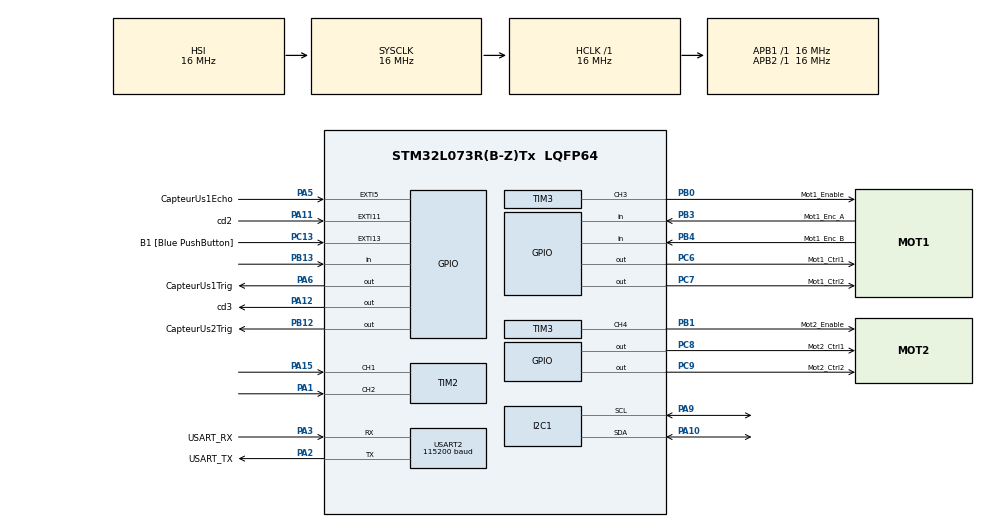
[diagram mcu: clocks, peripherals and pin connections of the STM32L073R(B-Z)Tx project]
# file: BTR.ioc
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I2C1.Timing=0x00503D58
Mcu.Family=STM32L0
Mcu.Name=STM32L073R(B-Z)Tx
Mcu.Package=LQFP64
NVIC.EXTI4_15_IRQn=true\:0\:0\:false\:false\:true\:true\:true\:true
NVIC.I2C1_IRQn=true\:0\:0\:false\:false\:true\:true\:true\:true
NVIC.TIM7_IRQn=true\:0\:0\:false\:false\:true\:true\:true\:true
NVIC.USART2_IRQn=true\:0\:0\:false\:false\:true\:true\:true\:true
PA1.Signal=S_TIM2_CH2
PA10.Mode=I2C
PA10.Signal=I2C1_SDA
PA11.GPIO_Label=cd2
PA11.GPIO_ModeDefaultEXTI=GPIO_MODE_IT_RISING_FALLING
PA11.Signal=GPXTI11
PA12.GPIO_Label=cd3
PA12.Signal=GPIO_Output
PA13.GPIO_Label=TMS
PA13.Mode=Serial_Wire
PA13.Signal=SYS_SWDIO
PA14.GPIO_Label=TCK
PA14.Mode=Serial_Wire
PA14.Signal=SYS_SWCLK
PA15.Signal=S_TIM2_CH1
PA2.GPIO_Label=USART_TX
PA2.Mode=Asynchronous
PA2.Signal=USART2_TX
PA3.GPIO_Label=USART_RX
PA3.Mode=Asynchronous
PA3.Signal=USART2_RX
PA5.GPIO_Label=CapteurUs1Echo
PA5.GPIO_ModeDefaultEXTI=GPIO_MODE_IT_RISING_FALLING
PA5.Signal=GPXTI5
PA6.GPIO_Label=CapteurUs1Trig
PA6.Signal=GPIO_Output
PA9.Mode=I2C
PA9.Signal=I2C1_SCL
PB0.GPIO_Label=Mot1_Enable
PB0.Signal=S_TIM3_CH3
PB1.GPIO_Label=Mot2_Enable
PB1.Signal=S_TIM3_CH4
PB12.GPIO_Label=CapteurUs2Trig
PB12.Signal=GPIO_Output
PB13.Signal=GPIO_Input
PB3.GPIO_Label=Mot1_Enc_A
PB3.Signal=GPIO_Input
PB4.GPIO_Label=Mot1_Enc_B
PB4.Signal=GPIO_Input
PC13.GPIO_Label=B1 [Blue PushButton]
PC13.GPIO_ModeDefaultEXTI=GPIO_MODE_IT_FALLING
PC13.Signal=GPXTI13
PC14-OSC32_IN.Mode=LSE-External-Oscillator
PC14-OSC32_IN.Signal=RCC_OSC32_IN
PC15-OSC32_OUT.Mode=LSE-External-Oscillator
PC15-OSC32_OUT.Signal=RCC_OSC32_OUT
PC6.GPIO_Label=Mot1_Ctrl1
PC6.Signal=GPIO_Output
PC7.GPIO_Label=Mot1_Ctrl2
PC7.Signal=GPIO_Output
PC8.GPIO_Label=Mot2_Ctrl1
PC8.Signal=GPIO_Output
PC9.GPIO_Label=Mot2_Ctrl2
PC9.Signal=GPIO_Output
PH0-OSC_IN.GPIO_Label=MCO
PH0-OSC_IN.Mode=HSE-External-Clock-Source
PH0-OSC_IN.Signal=RCC_OSC_IN
ProjectManager.HeapSize=0x200
ProjectManager.StackSize=0x400
ProjectManager.TargetToolchain=STM32CubeIDE
RCC.AHBFreq_Value=16000000
RCC.APB1Freq_Value=16000000
RCC.APB1TimFreq_Value=16000000
RCC.APB2Freq_Value=16000000
RCC.APB2TimFreq_Value=16000000
RCC.HCLKFreq_Value=16000000
RCC.HSE_VALUE=8000000
RCC.HSI16_VALUE=16000000
RCC.HSI48_VALUE=48000000
RCC.HSI_VALUE=16000000
RCC.MSI_VALUE=2097000
RCC.SYSCLKFreq_VALUE=16000000
RCC.SYSCLKSource=RCC_SYSCLKSOURCE_HSI
RCC.VCOOutputFreq_Value=48000000
SH.S_TIM2_CH1.0=TIM2_CH1,Encoder_Interface
SH.S_TIM2_CH2.0=TIM2_CH2,Encoder_Interface
SH.S_TIM3_CH3.0=TIM3_CH3,PWM Generation3 CH3
SH.S_TIM3_CH4.0=TIM3_CH4,PWM Generation4 CH4
TIM3.Channel-PWM\ Generation3\ CH3=TIM_CHANNEL_3
TIM3.Channel-PWM\ Generation4\ CH4=TIM_CHANNEL_4
TIM3.Period=150
TIM3.Prescaler=0
TIM6.Period=941
TIM6.Prescaler=0
TIM7.Period=250
TIM7.Prescaler=16000
USART2.BaudRate=115200
USART2.VirtualMode-Asynchronous=VM_ASYNC
VP_TIM3_VS_ClockSourceINT.Mode=Internal
VP_TIM6_VS_ClockSourceINT.Mode=Enable_Timer
VP_TIM7_VS_ClockSourceINT.Mode=Enable_Timer
board=NUCLEO-L073RZ

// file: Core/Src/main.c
/* USER CODE BEGIN Header */
/**
  ******************************************************************************
  * @file           : main.c
  * @brief          : Main program body
  ******************************************************************************
  * @attention
  *
  * Copyright (c) 2024 STMicroelectronics.
  * All rights reserved.
  *
  * This software is licensed under terms that can be found in the LICENSE file
  * in the root directory of this software component.
  * If no LICENSE file comes with this software, it is provided AS-IS.
  *
  ******************************************************************************
  */
/* USER CODE END Header */
#include "main.h"
#include "i2c.h"
#include "tim.h"
#include "usart.h"
#include "gpio.h"

/* USER CODE BEGIN Includes */
#include <stdio.h>

/* USER CODE END Includes */

/* USER CODE BEGIN PD */

//CONDITIONNELS
//#define TESTMOTORS
//#define TESTUS
#define MMA8451Q

#define MAX_SPEED 1

/* USER CODE END PD */

/* USER CODE BEGIN PV */

//Capteurs US

//Distance capteur US1
uint8_t g_int_distCapteurUs1=0;
uint8_t g_int_distRetenueUs1=0;

int32_t g_int_mot1PositionActuelle;
int32_t g_int_mot1PositionPrecedente;

uint8_t g_int_rpm;

char rx_buffer[10];  // Tampon pour stocker les caractères reçus
uint8_t rx_index = 0;

uint8_t g_int_LSpeed=0;
uint8_t g_int_RSpeed=0;

int l_bool_commande = 0;

/* USER CODE END PV */

void SystemClock_Config(void);

int main(void)
{

  /* MCU Configuration--------------------------------------------------------*/

  /* Reset of all peripherals, Initializes the Flash interface and the Systick. */
  HAL_Init();

  /* Configure the system clock */
  SystemClock_Config();

  /* Initialize all configured peripherals */
  MX_GPIO_Init();
  MX_USART2_UART_Init();
  MX_TIM2_Init();
  MX_TIM3_Init();
  MX_TIM6_Init();
  MX_TIM7_Init();
  MX_I2C1_Init();
  /* USER CODE BEGIN 2 */

  HAL_TIM_PWM_Start(&htim3, TIM_CHANNEL_3);
  HAL_TIM_PWM_Start(&htim3, TIM_CHANNEL_4);
  HAL_TIM_Base_Start_IT(&htim7);
  HAL_TIM_Encoder_Start(&htim2, TIM_CHANNEL_ALL);

  Motors_SetDirection(NEUTRAL);
  /* USER CODE END 2 */

  /* Infinite loop */
  /* USER CODE BEGIN WHILE */

  while (1)
  {
#ifdef TESTMOTORS

	  HAL_UART_Receive_IT(&huart2, (uint8_t *)rx_buffer, 1);

	  if(l_bool_commande == 1){
		  l_bool_commande = 0;

		  Motors_SetDirection(BACKWARD);

		  //Si le régime demndé est trop faible, le moteur démarre avant a haute vitesse
		  if(g_int_LSpeed>40 && g_int_LSpeed<150 && g_int_rpm==0){
			  Motors_SetSpeed(L_MOTOR, 220);
			  HAL_Delay(500);
		  }
		  else{
			  HAL_Delay(500);
		  }

		  //Actualise la vitesse du moteur
		  Motors_SetSpeed(L_MOTOR, g_int_LSpeed);

		  //Attente moteur
		  HAL_Delay(1500);
		  Print_Speed();
		  Motors_Stop();
		  //HAL_Delay(1000);

	  }

#endif

#ifdef TESTUS
	  TrigCapteurUs1();

	  HAL_Delay(500);

	  //filtrage
	  if((g_int_distCapteurUs1 <= 220) && (g_int_distCapteurUs1 >= 2)){
		  g_int_distRetenueUs1 = g_int_distCapteurUs1;
	  }

	  //uint8_t buffer[15];
	  //snprintf((char *)buffer, sizeof(buffer), "%d", g_int_distCapteurUs1);

	  //uint8_t buffer[15] = g_int_distCapteurUs1;

	  HAL_UART_Transmit(&huart2, &g_int_distRetenueUs1, 1, HAL_MAX_DELAY);
	  //printf("\n Erreur de lecture %i \n", g_int_distCapteurUs1);

	  //printf("marche stp \n");

	  //HAL_Delay(1000);
#endif
    /* USER CODE END WHILE */

  }
}

void SystemClock_Config(void)
{
  RCC_OscInitTypeDef RCC_OscInitStruct = {0};
  RCC_ClkInitTypeDef RCC_ClkInitStruct = {0};
  RCC_PeriphCLKInitTypeDef PeriphClkInit = {0};

  /** Configure the main internal regulator output voltage
  */
  __HAL_PWR_VOLTAGESCALING_CONFIG(PWR_REGULATOR_VOLTAGE_SCALE1);

  /** Initializes the RCC Oscillators according to the specified parameters
  * in the RCC_OscInitTypeDef structure.
  */
  RCC_OscInitStruct.OscillatorType = RCC_OSCILLATORTYPE_HSI;
  RCC_OscInitStruct.HSIState = RCC_HSI_ON;
  RCC_OscInitStruct.HSICalibrationValue = RCC_HSICALIBRATION_DEFAULT;
  RCC_OscInitStruct.PLL.PLLState = RCC_PLL_NONE;
  if (HAL_RCC_OscConfig(&RCC_OscInitStruct) != HAL_OK)
  {
    Error_Handler();
  }

  /** Initializes the CPU, AHB and APB buses clocks
  */
  RCC_ClkInitStruct.ClockType = RCC_CLOCKTYPE_HCLK|RCC_CLOCKTYPE_SYSCLK
                              |RCC_CLOCKTYPE_PCLK1|RCC_CLOCKTYPE_PCLK2;
  RCC_ClkInitStruct.SYSCLKSource = RCC_SYSCLKSOURCE_HSI;
  RCC_ClkInitStruct.AHBCLKDivider = RCC_SYSCLK_DIV1;
  RCC_ClkInitStruct.APB1CLKDivider = RCC_HCLK_DIV1;
  RCC_ClkInitStruct.APB2CLKDivider = RCC_HCLK_DIV1;

  if (HAL_RCC_ClockConfig(&RCC_ClkInitStruct, FLASH_LATENCY_0) != HAL_OK)
  {
    Error_Handler();
  }
  PeriphClkInit.PeriphClockSelection = RCC_PERIPHCLK_USART2|RCC_PERIPHCLK_I2C1;
  PeriphClkInit.Usart2ClockSelection = RCC_USART2CLKSOURCE_PCLK1;
  PeriphClkInit.I2c1ClockSelection = RCC_I2C1CLKSOURCE_PCLK1;
  if (HAL_RCCEx_PeriphCLKConfig(&PeriphClkInit) != HAL_OK)
  {
    Error_Handler();
  }
}

/* USER CODE BEGIN 4 */
//FONCTIONS

int __io_putchar(int ch){
	HAL_UART_Transmit(&huart2, (uint8_t*)&ch, 1, 0xFFFF);
	return ch;
}

//a refaire completement bancal
void TrigCapteurUs1(void){
	//Sortie ETat Haut
	HAL_GPIO_WritePin(CapteurUs1Trig_GPIO_Port, CapteurUs1Trig_Pin, GPIO_PIN_SET);
	//10us
	HAL_Delay(0.01);
	//Sortie Etat Bas
	HAL_GPIO_WritePin(CapteurUs1Trig_GPIO_Port, CapteurUs1Trig_Pin, GPIO_PIN_RESET);
}

//Callback lors d'interruptions sur EXTI 4:15
void HAL_GPIO_EXTI_Callback(uint16_t GPIO_Pin) {
    // Vérifie quel pin a déclenché l'interruption
    if (GPIO_Pin == CapteurUs1Echo_Pin) {

    	//Verif rising
        if (HAL_GPIO_ReadPin(CapteurUs1Echo_GPIO_Port, CapteurUs1Echo_Pin) == GPIO_PIN_SET){
        	//Lancer le timer
        	HAL_TIM_Base_Start(&htim6);
        }

        //Verif falling
        else if (HAL_GPIO_ReadPin(CapteurUs1Echo_GPIO_Port, CapteurUs1Echo_Pin) == GPIO_PIN_RESET){
        	//Arrete le timer et transmets la valeur
        	//ici la valeur est directement en cm grace au prescaler de tim2 qui est a 941
        	HAL_TIM_Base_Stop(&htim6);
        	g_int_distCapteurUs1 = TIM6->CNT;
        	TIM6->CNT = 0;

        }
    }
}

void HAL_UART_RxCpltCallback(UART_HandleTypeDef *huart)
{
  /* Prevent unused argument(s) compilation warning */
  UNUSED(huart);

  // Vérifie quel uart a déclenché l'interruption
      if (huart == &huart2) {

		  char received_char = rx_buffer[0];  // Récupérer le caractère reçu
		  //traitement caractere
		  g_int_LSpeed = received_char;
		  l_bool_commande = 1;

		  if (rx_index < 10)
		  {
			  rx_buffer[rx_index++] = received_char;  // Ajouter à la position actuelle dans le tampon
		  }

		  // Relancer la réception pour récupérer un autre caractère
		  //HAL_UART_Receive_IT(&huart1, (uint8_t *)rx_buffer, 1);  // Recevoir un autre caractère
      }

}

//mesures

void Sensor_Read(TNumSensor x_numSensor){
	//Envoi pwm trig
	TrigCapteurUs1();

	//filtrage
	if((g_int_distCapteurUs1 >= 220) || (g_int_distCapteurUs1 <= 2)){
		//rien
	}
	else {
		g_int_distRetenueUs1 = g_int_distCapteurUs1;
	}

}

void NavigationUpdate(void){

}

void Motors_Move(int x_int_angle, int x_int_speed){
	// Limiter l'angle entre -90 et 90 degrés
		int l_int_Lspeed;
		int l_int_Rspeed;

	    if (x_int_angle > 90){
	    	x_int_angle = 90;
	    }

	    else if (x_int_angle < -90){
	    	x_int_angle = -90;
	    }

	    // Calcul des vitesses
	    l_int_Lspeed = x_int_speed * (1 - (float)x_int_angle / 90.0f);
	    l_int_Rspeed = x_int_speed * (1 + (float)x_int_angle / 90.0f);

	    //Affectation des vitesses aux moteurs
	    Motors_SetSpeed(L_MOTOR, l_int_Lspeed);
	    Motors_SetSpeed(R_MOTOR, l_int_Rspeed);

}

void Motors_SetDirection(TDirection x_direction){
	//Gerer les ports CTRL1 et CTRL2 des moteurs
	//Cest par ici qu'on met la securite du delai de changement de dircetion avec
	if(x_direction == NEUTRAL){
		HAL_GPIO_WritePin(GPIOC, Mot1_Ctrl1_Pin, GPIO_PIN_RESET);
		HAL_GPIO_WritePin(GPIOC, Mot1_Ctrl2_Pin, GPIO_PIN_RESET);

		HAL_GPIO_WritePin(GPIOC, Mot2_Ctrl1_Pin, GPIO_PIN_RESET);
		HAL_GPIO_WritePin(GPIOC, Mot2_Ctrl2_Pin, GPIO_PIN_RESET);
	}

	else if(x_direction == FORWARD){
		HAL_GPIO_WritePin(GPIOC, Mot1_Ctrl1_Pin, GPIO_PIN_RESET);
		HAL_GPIO_WritePin(GPIOC, Mot1_Ctrl2_Pin, GPIO_PIN_SET);

		HAL_GPIO_WritePin(GPIOC, Mot2_Ctrl1_Pin, GPIO_PIN_SET);
		HAL_GPIO_WritePin(GPIOC, Mot2_Ctrl2_Pin, GPIO_PIN_RESET);

	}
	else if(x_direction == BACKWARD){
		HAL_GPIO_WritePin(GPIOC, Mot1_Ctrl1_Pin, GPIO_PIN_SET);
		HAL_GPIO_WritePin(GPIOC, Mot1_Ctrl2_Pin, GPIO_PIN_RESET);

		HAL_GPIO_WritePin(GPIOC, Mot2_Ctrl1_Pin, GPIO_PIN_RESET);
		HAL_GPIO_WritePin(GPIOC, Mot2_Ctrl2_Pin, GPIO_PIN_SET);

	}
	else{
		//Mode parking => tout a 0 comme le neutre, mis 2 fois pour avoir une securite de 100%
		HAL_GPIO_WritePin(GPIOC, Mot1_Ctrl1_Pin, GPIO_PIN_RESET);
		HAL_GPIO_WritePin(GPIOC, Mot1_Ctrl2_Pin, GPIO_PIN_RESET);

		HAL_GPIO_WritePin(GPIOC, Mot2_Ctrl1_Pin, GPIO_PIN_RESET);
		HAL_GPIO_WritePin(GPIOC, Mot2_Ctrl2_Pin, GPIO_PIN_RESET);
	}
}

void Motors_Stop(void){
	//Arrete tout les moteurs
	Motors_SetSpeed(L_MOTOR,0);
	Motors_SetSpeed(R_MOTOR,0);
}

void Motors_SetSpeed(TNumMotor x_numMotor, uint8_t x_int_speed){
	//recoit une vitesse entre 0 et 255, puis la transforme en pourcent par rapport au max
	//x_int_speed = (x_int_speed * TIM3->ARR)/ 255;
	x_int_speed = (x_int_speed+138)/ 3;

	//Controle chaque moteur individuellement
	if(x_numMotor==L_MOTOR){
			__HAL_TIM_SET_COMPARE(&htim3, TIM_CHANNEL_3, x_int_speed);
		}
	else if(x_numMotor==R_MOTOR){
			__HAL_TIM_SET_COMPARE(&htim3, TIM_CHANNEL_4, x_int_speed);
		}
}

void Encoders_GetData(void){
	int32_t l_int_distanceParcourue = 0;

	// Lire la position actuelle
	int32_t positionActuelle = __HAL_TIM_GET_COUNTER(&htim2);

	// Calculer la distance parcourue depuis la dernière lecture
	l_int_distanceParcourue = positionActuelle;

	g_int_rpm = 4*(l_int_distanceParcourue*30)/224;

	// Réinitialiser le compteur
	__HAL_TIM_SET_COUNTER(&htim2, 0);

}

void Print_Speed(void){
	// Afficher la distance parcourue (ou vitesse)
	HAL_UART_Transmit(&huart2, &g_int_rpm, 1, HAL_MAX_DELAY);
}

/* USER CODE END 4 */

void Error_Handler(void)
{
  __disable_irq();
  while (1)
  {
  }
}
